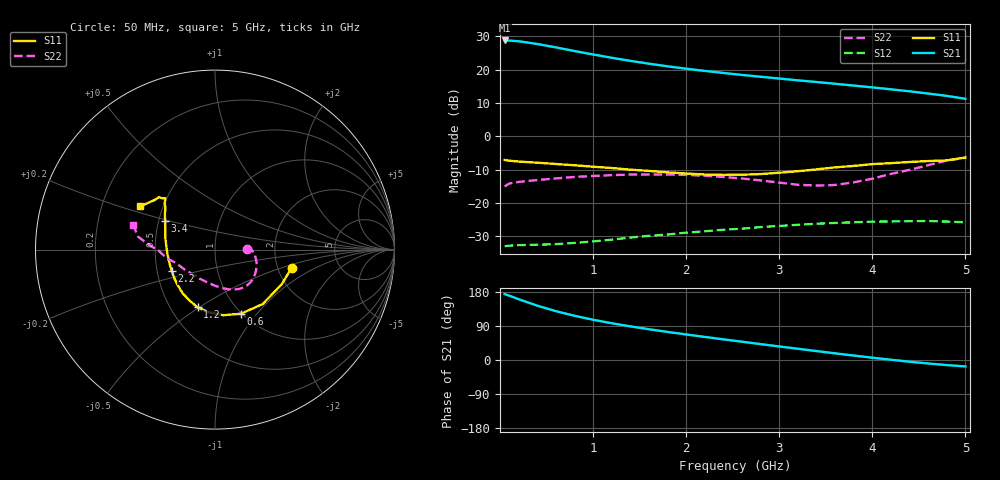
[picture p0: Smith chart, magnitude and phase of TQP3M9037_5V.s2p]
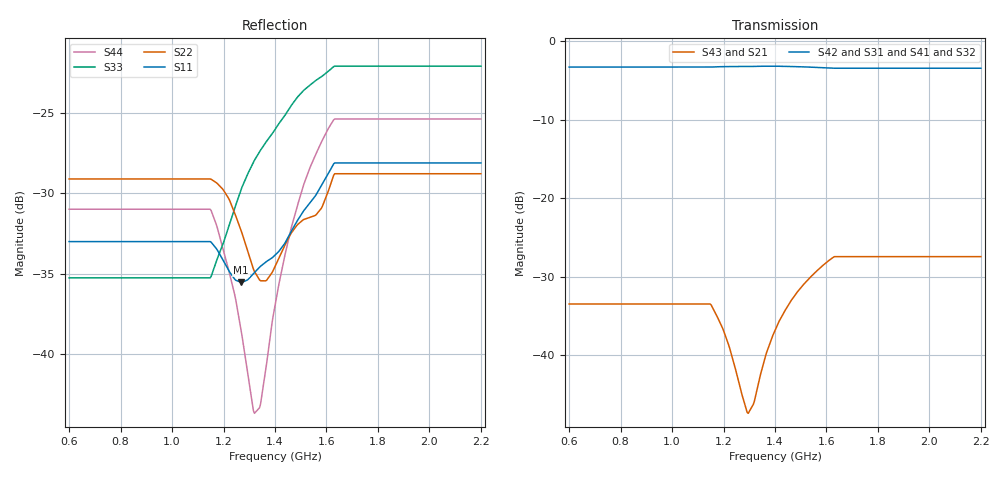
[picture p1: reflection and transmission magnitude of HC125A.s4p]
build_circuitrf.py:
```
"""Write the circuitRF netlist of the front end and run it with the circuitRF CLI (cross-check #2).

Output: ../circuitRF/gnss_frontend.cnl, ../circuitRF/gnss_frontend_circuitRF.s3p and
../Extracted_Data/crosscheck_circuitrf.json (difference to the scikit-rf result).
circuitRF executable: env CIRCUITRF_EXE, else %LOCALAPPDATA%/circuitRF-1.6.1/x/circuitRF.exe.
"""
import json
import os
import subprocess
from pathlib import Path

import numpy as np
import skrf as rf

import models as M

ROOT = Path(__file__).resolve().parent.parent
OUT = ROOT / "circuitRF"
OUT.mkdir(exist_ok=True)
EXE = os.environ.get("CIRCUITRF_EXE", str(Path(os.environ.get("LOCALAPPDATA", "")) / "circuitRF-1.6.1/x/circuitRF.exe"))
B = M.BIAS
RQ = 2 * np.pi * 1.4e9 * B["l_choke"] / B["l_choke_q"]


def lna_stage(tag, n_in, n_out):
    return f"""; LNA stage {tag}: DC block -> TQP3M9037 -> bias tee -> DC block (Qorvo eval values)
C:C1_{tag}  {n_in}  {tag}_c1  C={B['c_block'] * 1e12:g} pF
L:ESL1_{tag}  {tag}_c1  {tag}_c1b  L={B['c_block_esl'] * 1e9:g} nH
R:ESR1_{tag}  {tag}_c1b  {tag}_in  R={B['c_block_esr']:g} Ohm
SnP:U_{tag}  {tag}_in  {tag}_out  NumPorts=2  File="../Touchstone/TQP3M9037_5V.s2p"
L:LCHK_{tag}  {tag}_out  {tag}_l1  L={B['l_choke'] * 1e9:g} nH
R:RCHK_{tag}  {tag}_l1  {tag}_vdd  R={RQ:.4f} Ohm
C:CPAR_{tag}  {tag}_out  {tag}_vdd  C={B['l_choke_cpar'] * 1e12:g} pF
C:C3_{tag}  {tag}_vdd  {tag}_c3  C={B['c_bypass'] * 1e12:g} pF
L:ESL3_{tag}  {tag}_c3  {tag}_c3b  L={B['c_bypass_esl'] * 1e9:g} nH
R:ESR3_{tag}  {tag}_c3b  0  R=0.1 Ohm
C:C2_{tag}  {tag}_out  {tag}_c2  C={B['c_block'] * 1e12:g} pF
L:ESL2_{tag}  {tag}_c2  {tag}_c2b  L={B['c_block_esl'] * 1e9:g} nH
R:ESR2_{tag}  {tag}_c2b  {n_out}  R={B['c_block_esr']:g} Ohm
"""


def branch(tag, port_net, saw_file, num):
    return f"""; ===== {tag} branch =====
SnP:CP_{tag}  {port_net}  {tag}_lhcp  {tag}_fa  {tag}_fb  NumPorts=4  File="../Touchstone/PatchCP_ideal_RHCP_feed.s4p"
R:RLHCP_{tag}  {tag}_lhcp  0  R=50 Ohm
SnP:HYB_{tag}  {tag}_h1  {tag}_h2  {tag}_fa  {tag}_fb  NumPorts=4  File="../Touchstone/HC125A.s4p"
R:RISO_{tag}  {tag}_h2  0  R=50 Ohm
{lna_stage(tag + "A", tag + "_h1", tag + "_s1i")}SnP:SAW1_{tag}  {tag}_s1i  {tag}_s1o  NumPorts=2  File="../Touchstone/{saw_file}"
{lna_stage(tag + "B", tag + "_s1o", tag + "_s2i")}SnP:SAW2_{tag}  {tag}_s2i  {tag}_out  NumPorts=2  File="../Touchstone/{saw_file}"
"""


def main():
    cnl = f"""; gnss_frontend.cnl - Project 16 GNSS L1 + L2/L5 active antenna front end
; generated by Scripts/build_circuitrf.py; run: circuitRF sparam gnss_frontend.cnl
; ports: 1 = L1 virtual RHCP input, 2 = L2/L5 virtual RHCP input, 3 = RF output (to receiver)
Term:P1  in_l1  0  Num=1  Z=50
Term:P2  in_l2  0  Num=2  Z=50
Term:P3  rf_out  0  Num=3  Z=50
{branch("L1", "in_l1", "B7504.s2p", 1)}
{branch("L2", "in_l2", "B8889_matched.s2p", 2)}
; ===== combiner =====
SnP:DXP  rf_out  L1_out  L2_out  NumPorts=3  File="../Touchstone/DXP02A.s3p"

analysis SP1 type=sparam start=0.6 stop=2.2 npts=3201 Unit=GHz
"""
    (OUT / "gnss_frontend.cnl").write_text(cnl)
    chk = subprocess.run([EXE, "check", "gnss_frontend.cnl"], cwd=OUT, capture_output=True, text=True)
    print(chk.stdout.strip()[-300:], chk.stderr.strip()[-300:])
    run = subprocess.run([EXE, "sparam", "gnss_frontend.cnl", "-o", "gnss_frontend_circuitRF.s3p"],
                         cwd=OUT, capture_output=True, text=True)
    print(run.stdout.strip()[-400:], run.stderr.strip()[-400:])
    crf = rf.Network(str(OUT / "gnss_frontend_circuitRF.s3p"))
    ref = rf.Network(str(ROOT / "Touchstone" / "SIM_System_3port.s3p")).interpolate(crf.frequency)
    f = crf.f
    inband = ((f > 1.164e9) & (f < 1.230e9)) | ((f > 1.559e9) & (f < 1.606e9))
    rep = {}
    for nm, (i, j) in {"S31": (2, 0), "S32": (2, 1), "S11": (0, 0), "S22": (1, 1), "S33": (2, 2)}.items():
        d = 20 * np.log10(abs(crf.s[:, i, j])) - 20 * np.log10(abs(ref.s[:, i, j]))
        rep[nm] = dict(max_abs_diff_db_inband=float(abs(d[inband]).max()))
        print(nm, rep[nm])
    (ROOT / "Extracted_Data" / "crosscheck_circuitrf.json").write_text(json.dumps(rep, indent=1))


if __name__ == "__main__":
    main()
```
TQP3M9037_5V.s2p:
! Project 16: GNSS L1 + L2/L5 active antenna front end (RFMW-ANT)
! Generated by Scripts/simulate.py from Scripts/ds_data.py; format GHz / RI, Z0 = 50 ohm
! EXTRACTED (not estimated): Qorvo TQP3M9037 data sheet, 25 Jul 2017 p.3, VDD=+5 V, IDD=70 mA, 25 C
! Calibrated to the device leads: no DC blocks, no bias choke (add them in the circuit).
! Noise block: measured table p.3 (1.5-2.7 GHz). Below 1.5 GHz see Extracted_Data/assumptions_log.md
# GHz S RI R 50.0
!freq ReS11 ImS11 ReS21 ImS21 ReS12 ImS12 ReS22 ImS22
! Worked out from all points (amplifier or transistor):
!   27 points, 50 MHz to 5 GHz, reference 50 ohm
!   highest |S21| = 28.7 dB at 50 MHz (marker M1)
!   |S21| within 3 dB of that: start of sweep to 769.1 MHz
!   unconditionally stable (mu >= 1): start of sweep to end of sweep
!   at 600 MHz: K = 1.10, MAG = 27.6 dB, |S12| = -32.3 dB
!   at 2.4 GHz: K = 1.37, MAG = 19.8 dB, |S12| = -28.0 dB
!   at 5 GHz: K = 1.46, MAG = 14.5 dB, |S12| = -25.8 dB
!   lowest NFmin = 0.29 dB at 1.7 GHz
!   S11 on the Smith chart (normalised r, x): 50 MHz: 2.40, -0.61; 600 MHz: 0.99, -0.83; 1.2 GHz: 0.68, -0.49; 2.2 GHz: 0.60, -0.15; 3.4 GHz: 0.54, +0.19; 5 GHz: 0.37, +0.23
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0.05  0.4306 -0.1024  -27.2 2.897  0.0224 0.00337  0.1772 0.000619
0.2  0.3727 -0.192  -25.11 8.905  0.0233 0.00232  0.2072 -0.00452
0.4  0.2655 -0.3034  -19.45 14.42  0.0235 0.00364  0.2202 -0.0244
0.6  0.1453 -0.3571  -13.55 16.76  0.0237 0.00494  0.2282 -0.0526
0.8  0.046 -0.3657  -8.538 16.96  0.0245 0.00647  0.2325 -0.0814
1.2  -0.0973 -0.3213  -1.847 14.93  0.027 0.00867  0.2231 -0.1381
1.6  -0.1785 -0.2453  1.88 12.13  0.0304 0.0109  0.1973 -0.1827
2.2  -0.2409 -0.118  4.647 8.356  0.0357 0.0123  0.1353 -0.2189
2.6  -0.2647 -0.0267  5.542 6.215  0.0397 0.0116  0.0757 -0.221
3.4  -0.2783 0.1585  5.98 2.609  0.0485 0.00688  -0.0823 -0.1637
5  -0.4166 0.2412  3.498 -1.063  0.0511 -0.00571  -0.4574 0.139
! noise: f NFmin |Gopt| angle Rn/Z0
1.5  0.4  0.15  14.1  0.0016
1.7  0.29  0.16  43.7  0.0012
1.8  0.3  0.13  55.1  0.0012
1.9  0.3  0.11  30.2  0.0012
2  0.32  0.11  65.3  0.001
2.1  0.32  0.13  77.6  0.001
2.2  0.35  0.14  89  0.001
2.4  0.43  0.06  85.8  0.001
2.5  0.51  0.02  42.1  0.0012
2.7  0.46  0.07  148.6  0.001
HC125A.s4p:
! Project 16: GNSS L1 + L2/L5 active antenna front end (RFMW-ANT)
! Generated by Scripts/simulate.py from Scripts/ds_data.py; format GHz / RI, Z0 = 50 ohm
! ESTIMATED from Taoglas HC125A datasheet SPE-20-8-104-F table p.6 (magnitudes and coupled-vs-through phase are
! datasheet values; absolute phase, reflection/isolation phase are [ASSUMED]).
! Ports = pins 1..4. Pin1->Pin4 through, Pin1->Pin3 coupled (-90 deg), Pin1->Pin2 isolated.
! Valid 1150-1630 MHz; values outside are held at the band-edge magnitudes [EXTRAPOLATED].
! Reflection/isolation phase offsets (deg) chosen for passivity: 165 / 270
# GHz S RI R 50.0
!freq ReS11 ImS11 ReS12 ImS12 ReS13 ImS13
! ReS14 ImS14
! ReS21 ImS21 ReS22 ImS22 ReS23 ImS23
! ReS24 ImS24
! ReS31 ImS31 ReS32 ImS32 ReS33 ImS33
! ReS34 ImS34
! ReS41 ImS41 ReS42 ImS42 ReS43 ImS43
! ReS44 ImS44
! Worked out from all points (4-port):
!   401 points, 600 MHz to 2.2 GHz, reference 50 ohm
!   strongest paths, dB at 600 MHz, 1 GHz, 1.4 GHz, 1.8 GHz, 2.2 GHz:
!     S42: -3.3, -3.3, -3.2, -3.4, -3.4
!     S31: -3.3, -3.3, -3.2, -3.4, -3.4
!     S41: -3.1, -3.1, -3.4, -3.3, -3.3
!     S32: -3.1, -3.1, -3.4, -3.3, -3.3
!     S43: -33.5, -33.5, -36.9, -27.5, -27.5
!     S21: -33.5, -33.5, -36.9, -27.5, -27.5
!   lowest |S11| = -35.5 dB at 1.268 GHz (marker M1), VSWR 1.03, Z = 50.2 + j1.67 ohm
!   |S11| at or under -10 dB: start of sweep to end of sweep
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0.6  -0.0132 0.0181  -0.0133 -0.0165  -0.4465 -0.5182  0.5458 -0.4396
     -0.0133 -0.0165  -0.0207 0.0283  0.5458 -0.4396  -0.4465 -0.5182
     -0.4465 -0.5182  0.5458 -0.4396  -0.0102 0.014  -0.0133 -0.0165
     0.5458 -0.4396  -0.4465 -0.5182  -0.0133 -0.0165  -0.0166 0.0228
1.268  0.00207 0.0166  -0.00583 -0.000809  -0.6867 -0.068  0.094 -0.6774
       -0.00583 -0.000809  0.003 0.0241  0.094 -0.6774  -0.6867 -0.068
       -0.6867 -0.068  0.094 -0.6774  0.00401 0.0322  -0.00583 -0.000809
       0.094 -0.6774  -0.6867 -0.068  -0.00583 -0.000809  0.00147 0.0118
2.2  0.0363 0.0151  -0.0258 0.0336  -0.3817 0.554  -0.5414 -0.4162
     -0.0258 0.0336  0.0336 0.014  -0.5414 -0.4162  -0.3817 0.554
     -0.3817 0.554  -0.5414 -0.4162  0.0725 0.0301  -0.0258 0.0336
     -0.5414 -0.4162  -0.3817 0.554  -0.0258 0.0336  0.0497 0.0206
